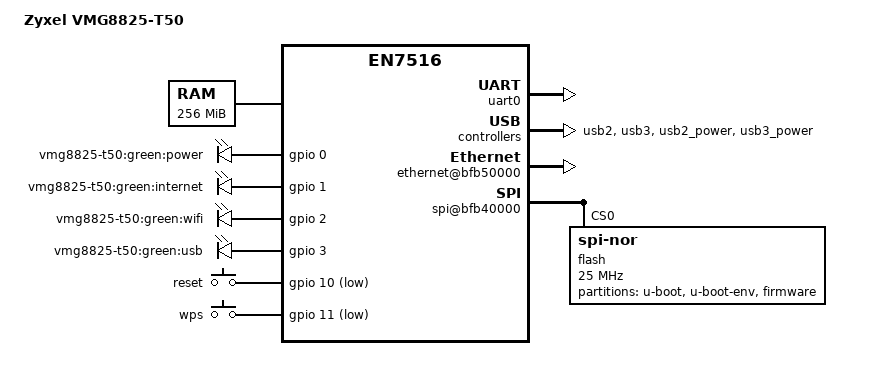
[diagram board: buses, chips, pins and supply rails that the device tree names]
/dts-v1/;

/ {
	#address-cells = <1>;
	#size-cells = <1>;
	compatible = "zyxel,vmg8825-t50", "econet,en7516";
	model = "Zyxel VMG8825-T50";

	cpus {
		#address-cells = <1>;
		#size-cells = <0>;

		cpu@0 {
			device_type = "cpu";
			compatible = "mips,mips1004Kc";
			reg = <0>;
		};
	};

	memory@0 {
		device_type = "memory";
		reg = <0x00000000 0x10000000>; /* 256MB */
	};

	chosen {
		bootargs = "console=ttyS0,115200";
	};

	aliases {
		serial0 = &uart0;
	};

	cpuintc: cpuintc {
		#address-cells = <0>;
		#interrupt-cells = <1>;
		interrupt-controller;
		compatible = "mti,cpu-interrupt-controller";
	};

	soc {
		compatible = "simple-bus";
		#address-cells = <1>;
		#size-cells = <1>;
		ranges;

		uart0: serial@bfbf0003 {
			compatible = "ns16550a";
			reg = <0xbfbf0003 0x20>;
			interrupt-parent = <&cpuintc>;
			interrupts = <3>;
			clock-frequency = <125000000>;
			reg-shift = <2>;
			reg-io-width = <1>;
			no-loopback-test;
		};

		/* USB 2.0 Controller */
		usb2: usb@bfb00000 {
			compatible = "econet,en7516-usb2", "generic-ehci";
			reg = <0xbfb00000 0x1000>;
			interrupt-parent = <&cpuintc>;
			interrupts = <5>;
			status = "okay";
			
			/* USB 2.0 power management */
			power-domains = <&usb2_power>;
			
			/* USB 2.0 port configuration */
			ports {
				#address-cells = <1>;
				#size-cells = <0>;
				
				port@1 {
					reg = <1>;
					status = "okay";
				};
			};
		};

		/* USB 3.0 Controller */
		usb3: usb@bfb80000 {
			compatible = "econet,en7516-usb3", "generic-xhci";
			reg = <0xbfb80000 0x1000>;
			interrupt-parent = <&cpuintc>;
			interrupts = <6>;
			status = "okay";
			
			/* USB 3.0 power management */
			power-domains = <&usb3_power>;
			
			/* USB 3.0 port configuration */
			ports {
				#address-cells = <1>;
				#size-cells = <0>;
				
				port@0 {
					reg = <0>;
					status = "okay";
				};
			};
		};

		/* USB Power Management */
		usb2_power: power-controller@bfa20000 {
			compatible = "econet,en7516-power";
			reg = <0xbfa20000 0x1000>;
			#power-domain-cells = <0>;
		};

		usb3_power: power-controller@bfa21000 {
			compatible = "econet,en7516-power";
			reg = <0xbfa21000 0x1000>;
			#power-domain-cells = <0>;
		};

		gpio: gpio@bfa20100 {
			compatible = "econet,en7516-gpio";
			reg = <0xbfa20100 0x100>;
			gpio-controller;
			#gpio-cells = <2>;
			ngpios = <32>;
		};

		/* Ethernet */
		ethernet@bfb50000 {
			compatible = "econet,en7516-eth";
			reg = <0xbfb50000 0x10000>;
			interrupt-parent = <&cpuintc>;
			interrupts = <4>;
		};

		/* SPI */
		spi@bfb40000 {
			compatible = "econet,en7516-spi";
			reg = <0xbfb40000 0x1000>;
			#address-cells = <1>;
			#size-cells = <0>;
			
			flash@0 {
				compatible = "jedec,spi-nor";
				reg = <0>;
				spi-max-frequency = <25000000>;
				
				partitions {
					compatible = "fixed-partitions";
					#address-cells = <1>;
					#size-cells = <1>;
					
					partition@0 {
						label = "u-boot";
						reg = <0x000000 0x040000>;
						read-only;
					};
					
					partition@40000 {
						label = "u-boot-env";
						reg = <0x040000 0x010000>;
					};
					
					partition@50000 {
						label = "firmware";
						reg = <0x050000 0xfb0000>;
					};
				};
			};
		};
	};

	/* LEDs */
	leds {
		compatible = "gpio-leds";
		
		power {
			label = "vmg8825-t50:green:power";
			gpios = <&gpio 0 0>;
			default-state = "on";
		};
		
		internet {
			label = "vmg8825-t50:green:internet";
			gpios = <&gpio 1 0>;
		};
		
		wifi {
			label = "vmg8825-t50:green:wifi";
			gpios = <&gpio 2 0>;
		};
		
		usb {
			label = "vmg8825-t50:green:usb";
			gpios = <&gpio 3 0>;
		};
	};

	/* GPIO Keys */
	keys {
		compatible = "gpio-keys";
		
		reset {
			label = "reset";
			linux,code = <0x198>; /* KEY_RESTART */
			gpios = <&gpio 10 1>;
		};
		
		wps {
			label = "wps";
			linux,code = <0x211>; /* KEY_WPS_BUTTON */
			gpios = <&gpio 11 1>;
		};
	};
};
